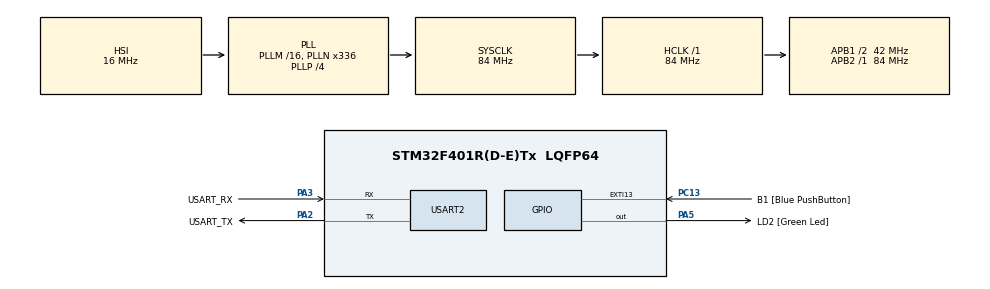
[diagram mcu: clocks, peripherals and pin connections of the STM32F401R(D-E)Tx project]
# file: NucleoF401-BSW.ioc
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Mcu.Family=STM32F4
Mcu.Name=STM32F401R(D-E)Tx
Mcu.Package=LQFP64
NVIC.PriorityGroup=NVIC_PRIORITYGROUP_4
PA13.GPIO_Label=TMS
PA13.Mode=Trace_Asynchronous_SW
PA13.Signal=SYS_JTMS-SWDIO
PA14.GPIO_Label=TCK
PA14.Mode=Trace_Asynchronous_SW
PA14.Signal=SYS_JTCK-SWCLK
PA2.GPIO_Label=USART_TX
PA2.GPIO_Mode=GPIO_MODE_AF_PP
PA2.GPIO_PuPd=GPIO_NOPULL
PA2.GPIO_Speed=GPIO_SPEED_FREQ_LOW
PA2.Mode=Asynchronous
PA2.Signal=USART2_TX
PA3.GPIO_Label=USART_RX
PA3.GPIO_Mode=GPIO_MODE_AF_PP
PA3.GPIO_PuPd=GPIO_NOPULL
PA3.GPIO_Speed=GPIO_SPEED_FREQ_LOW
PA3.Mode=Asynchronous
PA3.Signal=USART2_RX
PA5.GPIO_Label=LD2 [Green Led]
PA5.GPIO_Mode=GPIO_MODE_OUTPUT_PP
PA5.GPIO_PuPd=GPIO_NOPULL
PA5.GPIO_Speed=GPIO_SPEED_FREQ_LOW
PA5.Signal=GPIO_Output
PB3.GPIO_Label=SWO
PB3.Mode=Trace_Asynchronous_SW
PB3.Signal=SYS_JTDO-SWO
PC13-ANTI_TAMP.GPIO_Label=B1 [Blue PushButton]
PC13-ANTI_TAMP.GPIO_ModeDefaultEXTI=GPIO_MODE_IT_FALLING
PC13-ANTI_TAMP.GPIO_PuPd=GPIO_NOPULL
PC13-ANTI_TAMP.Signal=GPXTI13
PC14-OSC32_IN.Mode=LSE-External-Oscillator
PC14-OSC32_IN.Signal=RCC_OSC32_IN
PC15-OSC32_OUT.Mode=LSE-External-Oscillator
PC15-OSC32_OUT.Signal=RCC_OSC32_OUT
PH0\ -\ OSC_IN.Mode=HSE-External-Clock-Source
PH0\ -\ OSC_IN.Signal=RCC_OSC_IN
PH1\ -\ OSC_OUT.Mode=HSE-External-Clock-Source
PH1\ -\ OSC_OUT.Signal=RCC_OSC_OUT
ProjectManager.HeapSize=0x200
ProjectManager.StackSize=0x400
ProjectManager.TargetToolchain=STM32CubeIDE
RCC.48MHZClocksFreq_Value=48000000
RCC.AHBFreq_Value=84000000
RCC.APB1CLKDivider=RCC_HCLK_DIV2
RCC.APB1Freq_Value=42000000
RCC.APB1TimFreq_Value=84000000
RCC.APB2Freq_Value=84000000
RCC.APB2TimFreq_Value=84000000
RCC.CortexFreq_Value=84000000
RCC.HCLKFreq_Value=84000000
RCC.HSE_VALUE=8000000
RCC.HSI_VALUE=16000000
RCC.PLLN=336
RCC.PLLP=RCC_PLLP_DIV4
RCC.PLLQ=7
RCC.SYSCLKFreq_VALUE=84000000
RCC.SYSCLKSource=RCC_SYSCLKSOURCE_PLLCLK
RCC.VCOOutputFreq_Value=336000000
USART2.VirtualMode=VM_ASYNC
VP_CRC_VS_CRC.Mode=CRC_Activate
VP_wolfSSL.I-CUBE-wolfSSL_VS_wolfSSLJjwolfSSL_5.8.2_5.8.2.Mode=wolfSSLJjwolfSSL
board=NUCLEO-F401RE
wolfSSL.I-CUBE-wolfSSL.5.8.2.WOLF_CONF_WOLFCRYPT_ONLY=1
wolfSSL.I-CUBE-wolfSSL.5.8.2.wolfSSLCcwolfSSLJjwolfCryptJjCore=true

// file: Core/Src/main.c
/* USER CODE BEGIN Header */
/**
  ******************************************************************************
  * @file           : main.c
  * @brief          : Main program body
  ******************************************************************************
  * @attention
  *
  * Copyright (c) 2026 STMicroelectronics.
  * All rights reserved.
  *
  * This software is licensed under terms that can be found in the LICENSE file
  * in the root directory of this software component.
  * If no LICENSE file comes with this software, it is provided AS-IS.
  *
  ******************************************************************************
  */
/* USER CODE END Header */
#include "main.h"

/* USER CODE BEGIN Includes */

#include <stdio.h>
#include "boot.h"
#include "input.h"
#include "update.h"
#include "report.h"
#include "self_test.h"

/* USER CODE END Includes */

CRC_HandleTypeDef hcrc;

UART_HandleTypeDef huart2;

void SystemClock_Config(void);
static void MX_GPIO_Init(void);
static void MX_USART2_UART_Init(void);
static void MX_CRC_Init(void);

/* USER CODE BEGIN 0 */

// Send printf to uart2
int _write(int fd, char *ptr, int len)
{
    HAL_StatusTypeDef hstatus;

    if (fd == 1 || fd == 2)
    {
        hstatus = HAL_UART_Transmit(&huart2, (uint8_t*) ptr, len, HAL_MAX_DELAY);
        if (hstatus == HAL_OK)
            return len;
        else
            return -1;
    }
    return -1;
}

#define SMALL_RX_BUFFER_SIZE 1
uint8_t mySmallRXBuffer[SMALL_RX_BUFFER_SIZE];

/* USER CODE END 0 */

int main(void)
{

  /* MCU Configuration--------------------------------------------------------*/

  /* Reset of all peripherals, Initializes the Flash interface and the Systick. */
  HAL_Init();

  /* Configure the system clock */
  SystemClock_Config();

  /* Initialize all configured peripherals */
  MX_GPIO_Init();
  MX_USART2_UART_Init();
  MX_CRC_Init();
  /* USER CODE BEGIN 2 */

  	int16_t testResult = performSelfTests(0);
  	if (testResult != 0)
  	{
  		printf("System is in an invalid state\r\n");
  		NVIC_SystemReset();
  	}

    HAL_Delay(3000);

  	printf("Bootloader loaded, enter '1' for boot or '2' for upload, '3' for revert, '4' to check image versions\r\n");

	int8_t ret = receiveData(&huart2, mySmallRXBuffer, SMALL_RX_BUFFER_SIZE);
	if (ret != 0)
	{
		printf("Getting input from user failed\r\n");
	}

	char* choice = (char *)mySmallRXBuffer;

	if (choice[0] == '1')
	{
		int16_t ret = boot();
		if (ret != 0)
		{
			printf("Booting image failed\r\n");
		}
	}
	else if (choice[0] == '2')
	{
		int16_t ret = receiveUpdateData(&huart2);
		if (ret != 0)
		{
			printf("Receiving image failed\r\n");
		}
		ret = swapBootWithUpdate();
		if (ret != 0)
		{
			printf("Swapping images failed\r\n");
		}

		ret = boot();
		if (ret != 0)
		{
			printf("Booting image failed\r\n");
		}
	}
	else if (choice[0] == '3')
	{
		int16_t ret = swapBootWithUpdate();
		if (ret != 0)
		{
			printf("Swapping images failed\r\n");
		}

		ret = boot();
		if (ret != 0)
		{
			printf("Booting image failed\r\n");
		}
	}
	else if (choice[0] == '4')
	{
		printImageHeaders();
		HAL_Delay(1000);
		NVIC_SystemReset();
	}
	else
	{
		printf("ERROR, reset\r\n");
		HAL_Delay(1000);
		NVIC_SystemReset();
	}

  /* USER CODE END 2 */

  /* Infinite loop */
  while (1)
  {

  }
}

void SystemClock_Config(void)
{
  RCC_OscInitTypeDef RCC_OscInitStruct = {0};
  RCC_ClkInitTypeDef RCC_ClkInitStruct = {0};

  /** Configure the main internal regulator output voltage
  */
  __HAL_RCC_PWR_CLK_ENABLE();
  __HAL_PWR_VOLTAGESCALING_CONFIG(PWR_REGULATOR_VOLTAGE_SCALE2);

  /** Initializes the RCC Oscillators according to the specified parameters
  * in the RCC_OscInitTypeDef structure.
  */
  RCC_OscInitStruct.OscillatorType = RCC_OSCILLATORTYPE_HSI;
  RCC_OscInitStruct.HSIState = RCC_HSI_ON;
  RCC_OscInitStruct.HSICalibrationValue = RCC_HSICALIBRATION_DEFAULT;
  RCC_OscInitStruct.PLL.PLLState = RCC_PLL_ON;
  RCC_OscInitStruct.PLL.PLLSource = RCC_PLLSOURCE_HSI;
  RCC_OscInitStruct.PLL.PLLM = 16;
  RCC_OscInitStruct.PLL.PLLN = 336;
  RCC_OscInitStruct.PLL.PLLP = RCC_PLLP_DIV4;
  RCC_OscInitStruct.PLL.PLLQ = 7;
  if (HAL_RCC_OscConfig(&RCC_OscInitStruct) != HAL_OK)
  {
    Error_Handler();
  }

  /** Initializes the CPU, AHB and APB buses clocks
  */
  RCC_ClkInitStruct.ClockType = RCC_CLOCKTYPE_HCLK|RCC_CLOCKTYPE_SYSCLK
                              |RCC_CLOCKTYPE_PCLK1|RCC_CLOCKTYPE_PCLK2;
  RCC_ClkInitStruct.SYSCLKSource = RCC_SYSCLKSOURCE_PLLCLK;
  RCC_ClkInitStruct.AHBCLKDivider = RCC_SYSCLK_DIV1;
  RCC_ClkInitStruct.APB1CLKDivider = RCC_HCLK_DIV2;
  RCC_ClkInitStruct.APB2CLKDivider = RCC_HCLK_DIV1;

  if (HAL_RCC_ClockConfig(&RCC_ClkInitStruct, FLASH_LATENCY_2) != HAL_OK)
  {
    Error_Handler();
  }
}

static void MX_CRC_Init(void)
{

  hcrc.Instance = CRC;
  if (HAL_CRC_Init(&hcrc) != HAL_OK)
  {
    Error_Handler();
  }

}

static void MX_USART2_UART_Init(void)
{

  huart2.Instance = USART2;
  huart2.Init.BaudRate = 115200;
  huart2.Init.WordLength = UART_WORDLENGTH_8B;
  huart2.Init.StopBits = UART_STOPBITS_1;
  huart2.Init.Parity = UART_PARITY_NONE;
  huart2.Init.Mode = UART_MODE_TX_RX;
  huart2.Init.HwFlowCtl = UART_HWCONTROL_NONE;
  huart2.Init.OverSampling = UART_OVERSAMPLING_16;
  if (HAL_UART_Init(&huart2) != HAL_OK)
  {
    Error_Handler();
  }

}

static void MX_GPIO_Init(void)
{
  GPIO_InitTypeDef GPIO_InitStruct = {0};

  /* GPIO Ports Clock Enable */
  __HAL_RCC_GPIOC_CLK_ENABLE();
  __HAL_RCC_GPIOH_CLK_ENABLE();
  __HAL_RCC_GPIOA_CLK_ENABLE();
  __HAL_RCC_GPIOB_CLK_ENABLE();

  /*Configure GPIO pin Output Level */
  HAL_GPIO_WritePin(LD2_GPIO_Port, LD2_Pin, GPIO_PIN_RESET);

  /*Configure GPIO pin : B1_Pin */
  GPIO_InitStruct.Pin = B1_Pin;
  GPIO_InitStruct.Mode = GPIO_MODE_IT_FALLING;
  GPIO_InitStruct.Pull = GPIO_NOPULL;
  HAL_GPIO_Init(B1_GPIO_Port, &GPIO_InitStruct);

  /*Configure GPIO pin : LD2_Pin */
  GPIO_InitStruct.Pin = LD2_Pin;
  GPIO_InitStruct.Mode = GPIO_MODE_OUTPUT_PP;
  GPIO_InitStruct.Pull = GPIO_NOPULL;
  GPIO_InitStruct.Speed = GPIO_SPEED_FREQ_LOW;
  HAL_GPIO_Init(LD2_GPIO_Port, &GPIO_InitStruct);

}

void Error_Handler(void)
{
  __disable_irq();
  while (1)
  {
  }
}
